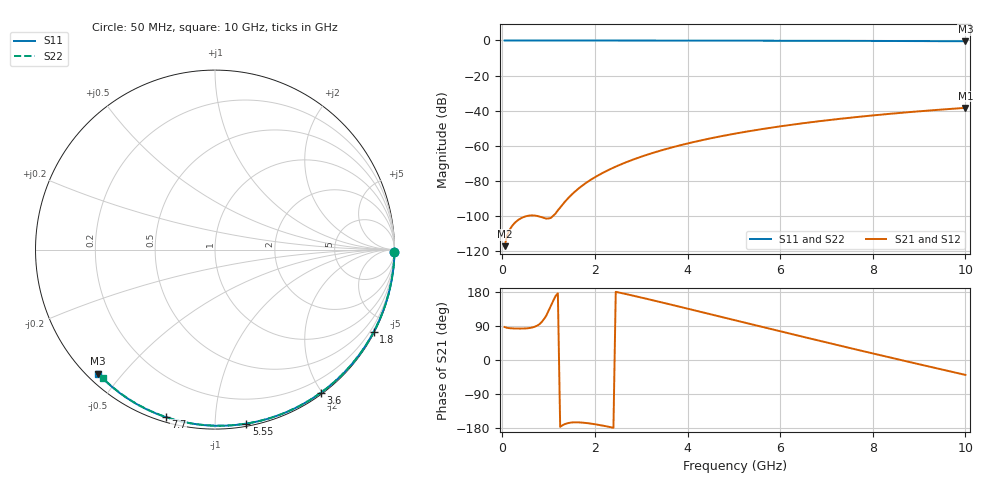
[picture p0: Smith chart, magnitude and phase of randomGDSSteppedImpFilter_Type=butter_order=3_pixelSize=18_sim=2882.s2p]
! freq	dB(S11)	phase(S11)	dB(S12)	phase(S12)
!  dB(S21)	phase(S21)	dB(S22)	phase(S22)
!S-par simulation data
#  GHz  S  DB  R 50
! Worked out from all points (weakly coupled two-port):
!   200 points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, 50 MHz to 10 GHz, reference 50 ohm
!   highest |S21| = -38.41 dB at 10 GHz (marker M1); lowest = -117.3 dB at 50 MHz (marker M2)
!   lowest |S11| = -0.4 dB at 10 GHz (marker M3), VSWR 38.63, Z = 1.54 - j21.6 ohm
!   |S11| at or under -10 dB: nowhere
!   |S22| runs from -0.4 to 0.0 dB; largest |S21 - S12| = 0
!   S11 on the Smith chart (normalised r, x): 50 MHz: open; 1.8 GHz: 0.04, -4.11; 3.6 GHz: 0.02, -1.99; 5.55 GHz: 0.02, -1.20; 7.7 GHz: 0.02, -0.75; 10 GHz: 0.03, -0.43
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0.05  -0.00 -0.8  -117.25 87.0  -117.25 87.0  -0.00 -0.8
0.9  -0.02 -13.8  -101.21 108.0  -101.21 108.0  -0.02 -13.6
1.75  -0.03 -26.6  -82.29 -165.5  -82.29 -165.5  -0.03 -26.1
1.8  -0.03 -27.3  -81.34 -166.1  -81.34 -166.1  -0.03 -26.9
1.85  -0.04 -28.1  -80.45 -166.8  -80.45 -166.8  -0.04 -27.6
1.9  -0.04 -28.8  -79.59 -167.6  -79.59 -167.6  -0.04 -28.3
2.05  -0.04 -31.0  -77.19 -170.5  -77.19 -170.5  -0.04 -30.5
2.25  -0.04 -34.0  -74.38 -175.1  -74.38 -175.1  -0.04 -33.4
2.45  -0.05 -36.9  -71.89 179.9  -71.89 179.9  -0.05 -36.3
2.65  -0.05 -39.8  -69.66 174.6  -69.66 174.6  -0.05 -39.2
3  -0.06 -44.9  -66.25 164.8  -66.25 164.8  -0.06 -44.2
3.4  -0.07 -50.6  -62.91 153.3  -62.91 153.3  -0.07 -49.8
3.6  -0.07 -53.4  -61.42 147.4  -61.42 147.4  -0.07 -52.6
4.3  -0.09 -63.1  -56.91 126.6  -56.91 126.6  -0.09 -62.1
5.05  -0.11 -73.2  -52.98 104.2  -52.98 104.2  -0.11 -72.1
5.55  -0.13 -79.7  -50.76 89.2  -50.76 89.2  -0.13 -78.5
6.1  -0.15 -86.8  -48.58 72.9  -48.58 72.9  -0.15 -85.5
6.7  -0.18 -94.3  -46.49 55.1  -46.49 55.1  -0.18 -92.9
7.7  -0.24 -106.5  -43.51 26.0  -43.51 26.0  -0.24 -104.9
8.35  -0.29 -114.2  -41.86 7.3  -41.86 7.3  -0.29 -112.4
9.15  -0.36 -123.5  -40.06 -15.5  -40.06 -15.5  -0.36 -121.6
10  -0.45 -133.2  -38.41 -39.3  -38.41 -39.3  -0.44 -131.2
